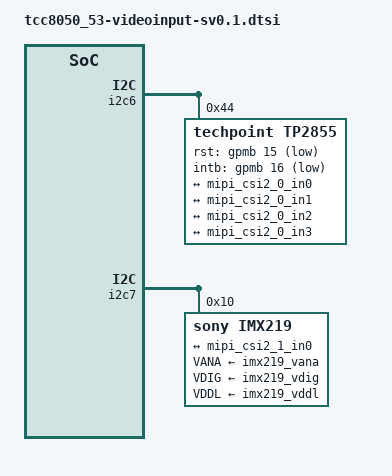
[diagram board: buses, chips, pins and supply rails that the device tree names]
// SPDX-License-Identifier: (GPL-2.0-or-later OR MIT)
/*
 * Copyright (C) Telechips Inc.
 */

#include "tcc805x-videoinput.dtsi"

&pinctrl {
	isp0_uart_tx: isp0_uart_tx {
		telechips,pins = "gpmb-0";
		telechips,pin-function = <5>;
		telechips,output-high;
		telechips,input_buffer_disable;
	};

	isp0_uart_rx: isp0_uart_rx {
		telechips,pins = "gpmb-1";
		telechips,pin-function = <5>;
		telechips,input-enable;
		telechips,input_buffer_enable;
	};

	isp1_uart_tx: isp1_uart_tx {
		telechips,pins = "gpmb-6";
		telechips,pin-function = <5>;
		telechips,output-high;
		telechips,input_buffer_disable;
	};

	isp1_uart_rx: isp1_uart_rx {
		telechips,pins = "gpmb-7";
		telechips,pin-function = <5>;
		telechips,input-enable;
		telechips,input_buffer_enable;
	};

	isp2_uart_tx: isp2_uart_tx {
		telechips,pins = "gpmb-12";
		telechips,pin-function = <5>;
		telechips,output-high;
		telechips,input_buffer_disable;
	};

	isp2_uart_rx: isp2_uart_rx {
		telechips,pins = "gpmb-13";
		telechips,pin-function = <5>;
		telechips,input-enable;
		telechips,input_buffer_enable;
	};

	isp3_uart_tx: isp3_uart_tx {
		telechips,pins = "gpmb-24";
		telechips,pin-function = <5>;
		telechips,output-high;
		telechips,input_buffer_disable;
	};

	isp3_uart_rx: isp3_uart_rx {
		telechips,pins = "gpmb-25";
		telechips,pin-function = <5>;
		telechips,input-enable;
		telechips,input_buffer_enable;
	};
};

&i2c6 {
	#address-cells = <1>;
	#size-cells = <0>;
	status = "okay";
	port-mux = <12>;
	pinctrl-names = "default";
	pinctrl-0 = <&i2c12_bus>;

    tp2855: tp2855 {
        status = "okay";
        compatible = "techpoint,tp2855";

        rst-gpios = <&gpmb 15 1>;
        intb-gpios = <&gpmb 16 1>;
        reg = <0x44>;
        ports {
            #address-cells = <1>;
            #size-cells = <0>;
            port@4 {
                reg = <0>;
                tp2855_out0: endpoint@0 {
                    remote-endpoint = <&mipi_csi2_0_in0>;
                    io-direction = "output";
                    channel = <0>;
				};
                tp2855_out1: endpoint@1 {
                    remote-endpoint = <&mipi_csi2_0_in1>;
                    io-direction = "output";
                    channel = <1>;
				};
                tp2855_out2: endpoint@2 {
                    remote-endpoint = <&mipi_csi2_0_in2>;
                    io-direction = "output";
                    channel = <2>;
				};
                tp2855_out3: endpoint@3 {
                    remote-endpoint = <&mipi_csi2_0_in3>;
                    io-direction = "output";
                    channel = <3>;
				};
			};
		};
	};
};

&i2c7 {
	#address-cells = <1>;
	#size-cells = <0>;
	status = "okay";
	port-mux = <13>; 
	pinctrl-names = "default";
	pinctrl-0 = <&i2c13_bus>; 

	imx219: imx219@10 {
		status		= "okay";
		compatible	= "sony,imx219";

		clocks = <&imx219_clk>;
		clock-names = "xclk";

		VANA-supply = <&imx219_vana>;	// 2.8v 
		VDIG-supply = <&imx219_vdig>;	// 1.8v 
		VDDL-supply = <&imx219_vddl>;	// 1.2v 

		reset  = <&gpg 5 1>;

		clock-lanes = <0>;
		data-lanes = <1 2>;
		clock-noncontinuous;
		link-frequencies = /bits/ 64 <456000000>;

		reg		= <0x10>;
		port {
			#address-cells = <1>;
			#size-cells = <0>;
			reg = <0>;
	
			imx219_out0: endpoint@0 {
				remote-endpoint = <&mipi_csi2_1_in0>;
				io-direction = "output";
				channel = <0>;
                		bus-width = <2>;
                		data-lanes = <0 1>;
                		clock-lanes = <2>;
                		hsync-active = <0>;
                		vsync-active = <0>;
			};
		};
	};
};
